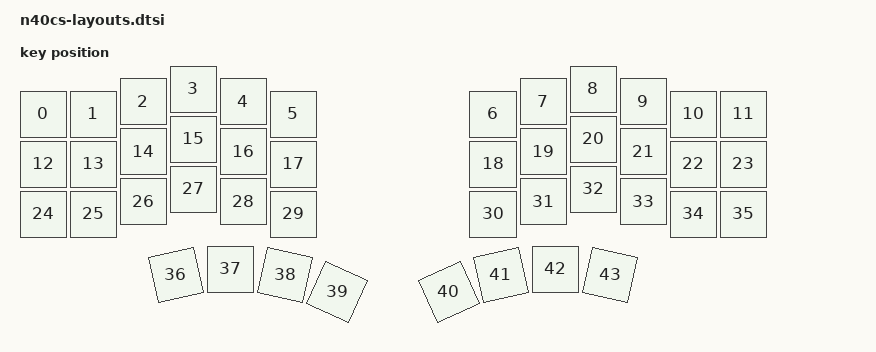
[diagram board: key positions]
#include <physical_layouts.dtsi>

/ {
    default_layout: default_layout {
        compatible = "zmk,physical-layout";
        display-name = "Default Layout";
        kscan = <&default_kscan>;
        transform = <&default_transform>;

        keys
            = <&key_physical_attrs 100 100    0   50       0     0     0>
            , <&key_physical_attrs 100 100  100   50       0     0     0>
            , <&key_physical_attrs 100 100  200   25       0     0     0>
            , <&key_physical_attrs 100 100  300    0       0     0     0>
            , <&key_physical_attrs 100 100  400   25       0     0     0>
            , <&key_physical_attrs 100 100  500   50       0     0     0>
            , <&key_physical_attrs 100 100  900   50       0     0     0>
            , <&key_physical_attrs 100 100 1000   25       0     0     0>
            , <&key_physical_attrs 100 100 1100    0       0     0     0>
            , <&key_physical_attrs 100 100 1200   25       0     0     0>
            , <&key_physical_attrs 100 100 1300   50       0     0     0>
            , <&key_physical_attrs 100 100 1400   50       0     0     0>
            , <&key_physical_attrs 100 100    0  150       0     0     0>
            , <&key_physical_attrs 100 100  100  150       0     0     0>
            , <&key_physical_attrs 100 100  200  125       0     0     0>
            , <&key_physical_attrs 100 100  300  100       0     0     0>
            , <&key_physical_attrs 100 100  400  125       0     0     0>
            , <&key_physical_attrs 100 100  500  150       0     0     0>
            , <&key_physical_attrs 100 100  900  150       0     0     0>
            , <&key_physical_attrs 100 100 1000  125       0     0     0>
            , <&key_physical_attrs 100 100 1100  100       0     0     0>
            , <&key_physical_attrs 100 100 1200  125       0     0     0>
            , <&key_physical_attrs 100 100 1300  150       0     0     0>
            , <&key_physical_attrs 100 100 1400  150       0     0     0>
            , <&key_physical_attrs 100 100    0  250       0     0     0>
            , <&key_physical_attrs 100 100  100  250       0     0     0>
            , <&key_physical_attrs 100 100  200  225       0     0     0>
            , <&key_physical_attrs 100 100  300  200       0     0     0>
            , <&key_physical_attrs 100 100  400  225       0     0     0>
            , <&key_physical_attrs 100 100  500  250       0     0     0>
            , <&key_physical_attrs 100 100  900  250       0     0     0>
            , <&key_physical_attrs 100 100 1000  225       0     0     0>
            , <&key_physical_attrs 100 100 1100  200       0     0     0>
            , <&key_physical_attrs 100 100 1200  225       0     0     0>
            , <&key_physical_attrs 100 100 1300  250       0     0     0>
            , <&key_physical_attrs 100 100 1400  250       0     0     0>
            , <&key_physical_attrs 100 100  375  360 (-1200)   425   935>
            , <&key_physical_attrs 100 100  375  360       0     0     0>
            , <&key_physical_attrs 100 100  375  360    1200   425   935>
            , <&key_physical_attrs 100 100  375  360    2400   425   935>
            , <&key_physical_attrs 100 100 1025  360 (-2400)  1075   935>
            , <&key_physical_attrs 100 100 1025  360 (-1200)  1075   935>
            , <&key_physical_attrs 100 100 1025  360       0     0     0>
            , <&key_physical_attrs 100 100 1025  360    1200  1075   935>
            ;
    };
};
